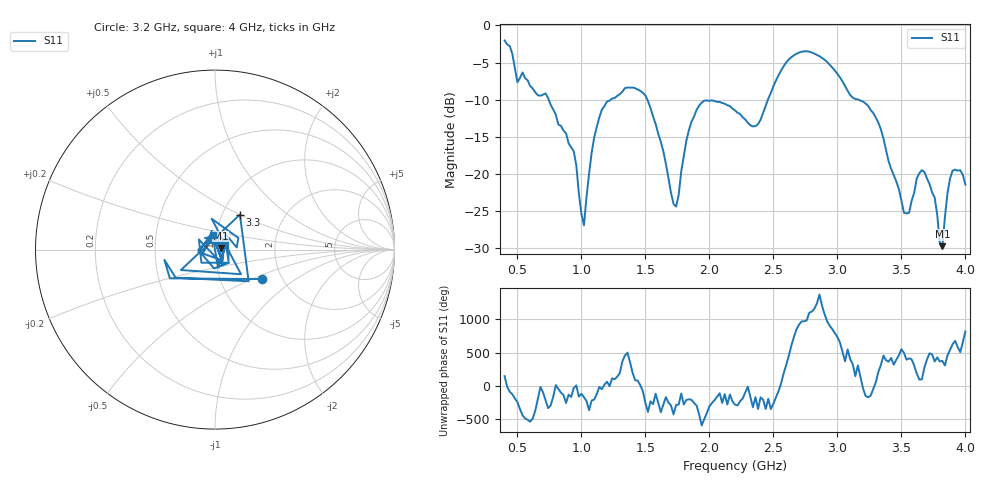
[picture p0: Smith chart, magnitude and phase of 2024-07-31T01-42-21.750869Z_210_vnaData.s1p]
!Created with skrf (http://scikit-rf.org).
# Hz S RI R 50.0
!freq ReS11 ImS11
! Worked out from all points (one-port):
!   181 points, 400 MHz to 4 GHz, reference 50 ohm
!   lowest |S11| = -29.7 dB at 3.82 GHz (marker M1), VSWR 1.07, Z = 53.2 + j1.01 ohm
!   |S11| at or under -10 dB: 744.9 MHz to 1.229 GHz (484.1 MHz wide, 49.1 % of centre); 1.515 GHz to 2.457 GHz (942.3 MHz wide, 47.4 % of centre); 3.165 GHz to end of sweep
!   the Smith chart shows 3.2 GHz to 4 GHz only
!   S11 on the Smith chart (normalised r, x): 3.2 GHz: 1.58, -0.57; 3.3 GHz: 1.21, +0.50; 4 GHz: 0.96, +0.16
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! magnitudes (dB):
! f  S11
! 400 MHz  -2.0
! 500 MHz  -7.6
! 720 MHz  -9.2
! 860 MHz  -14.2
! 940 MHz  -16.9
! 1.02 GHz  -26.9
! 1.08 GHz  -17.1
! 1.14 GHz  -12.4
! 1.3 GHz  -9.3
! 1.5 GHz  -9.4
! 1.72 GHz  -24.0
! 1.76 GHz  -22.8
! 1.82 GHz  -15.5
! 1.92 GHz  -10.8
! 2.2 GHz  -11.4
! 2.38 GHz  -13.3
! 2.66 GHz  -4.0
! 2.9 GHz  -4.6
! 3.1 GHz  -9.4
! 3.2 GHz  -10.2
! 3.3 GHz  -12.4
! 3.56 GHz  -25.2
! 3.68 GHz  -19.7
! 3.76 GHz  -23.2
! 3.82 GHz  -29.7
! 3.86 GHz  -22.6
! 3.9 GHz  -19.6
! 4 GHz  -21.4
